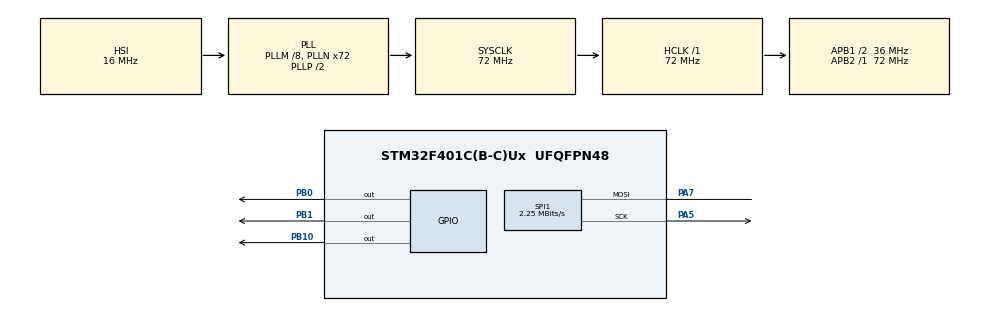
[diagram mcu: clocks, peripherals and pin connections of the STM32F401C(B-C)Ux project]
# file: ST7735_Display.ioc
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Mcu.Family=STM32F4
Mcu.Name=STM32F401C(B-C)Ux
Mcu.Package=UFQFPN48
NVIC.PriorityGroup=NVIC_PRIORITYGROUP_4
PA13.Mode=Serial_Wire
PA13.Signal=SYS_JTMS-SWDIO
PA14.Mode=Serial_Wire
PA14.Signal=SYS_JTCK-SWCLK
PA5.Mode=Simplex_Bidirectional_Master
PA5.Signal=SPI1_SCK
PA7.Mode=Simplex_Bidirectional_Master
PA7.Signal=SPI1_MOSI
PB0.Signal=GPIO_Output
PB1.Signal=GPIO_Output
PB10.Signal=GPIO_Output
PH0\ -\ OSC_IN.Mode=HSE-External-Oscillator
PH0\ -\ OSC_IN.Signal=RCC_OSC_IN
PH1\ -\ OSC_OUT.Mode=HSE-External-Oscillator
PH1\ -\ OSC_OUT.Signal=RCC_OSC_OUT
ProjectManager.HeapSize=0x200
ProjectManager.StackSize=0x400
ProjectManager.TargetToolchain=STM32CubeIDE
RCC.48MHZClocksFreq_Value=36000000
RCC.AHBFreq_Value=72000000
RCC.APB1CLKDivider=RCC_HCLK_DIV2
RCC.APB1Freq_Value=36000000
RCC.APB1TimFreq_Value=72000000
RCC.APB2Freq_Value=72000000
RCC.APB2TimFreq_Value=72000000
RCC.CortexFreq_Value=72000000
RCC.HCLKFreq_Value=72000000
RCC.HSE_VALUE=25000000
RCC.HSI_VALUE=16000000
RCC.LSE_VALUE=32768
RCC.PLLM=8
RCC.PLLN=72
RCC.SYSCLKFreq_VALUE=72000000
RCC.SYSCLKSource=RCC_SYSCLKSOURCE_PLLCLK
RCC.VCOOutputFreq_Value=144000000
SPI1.BaudRatePrescaler=SPI_BAUDRATEPRESCALER_32
SPI1.CalculateBaudRate=2.25 MBits/s
SPI1.Direction=SPI_DIRECTION_1LINE
SPI1.Mode=SPI_MODE_MASTER
SPI1.VirtualType=VM_MASTER
board=custom

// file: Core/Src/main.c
/* USER CODE BEGIN Header */
/**
  ******************************************************************************
  * @file           : main.c
  * @brief          : Main program body
  ******************************************************************************
  * @attention
  *
  * <h2><center>&copy; Copyright (c) 2020 STMicroelectronics.
  * All rights reserved.</center></h2>
  *
  * This software component is licensed by ST under BSD 3-Clause license,
  * the "License"; You may not use this file except in compliance with the
  * License. You may obtain a copy of the License at:
  *                        opensource.org/licenses/BSD-3-Clause
  *
  ******************************************************************************
  */
/* USER CODE END Header */
#include "main.h"

/* USER CODE BEGIN Includes */
#include <string.h>
#include "ST7735.h"
#include "GFX_FUNCTIONS.h"
#include "fonts.h"
/* USER CODE END Includes */

SPI_HandleTypeDef hspi1;

void SystemClock_Config(void);
static void MX_GPIO_Init(void);
static void MX_SPI1_Init(void);

int main(void)
{

  /* MCU Configuration--------------------------------------------------------*/

  /* Reset of all peripherals, Initializes the Flash interface and the Systick. */
  HAL_Init();

  /* Configure the system clock */
  SystemClock_Config();

  /* Initialize all configured peripherals */
  MX_GPIO_Init();
  MX_SPI1_Init();
  /* USER CODE BEGIN 2 */
  ST7735_Init();

  /* USER CODE END 2 */

  /* Infinite loop */
  /* USER CODE BEGIN WHILE */
  while (1)
  {
	  ST7735_FillScreen(ST7735_BLACK);
	    ST7735_WriteString(0, 0, "MicroPeta", Font_7x10, ST7735_RED, ST7735_BLACK);
	    ST7735_WriteString(0, 3*10, "by Nizar Mohideen", Font_11x18, ST7735_GREEN, ST7735_BLACK);
	    ST7735_WriteString(0, 3*10+3*18, "March 2023", Font_16x26, ST7735_BLUE, ST7735_BLACK);
	    HAL_Delay(3000);
	    ST7735_FillScreen(ST7735_BLACK);
	    drawCircle(50, 55, 20, ST7735_GREEN);
	    drawCircle(50, 55, 21, ST7735_GREEN);
	    drawCircle(50, 55, 22, ST7735_GREEN);
	    drawCircle(50, 55, 23, ST7735_GREEN);
	    drawCircle(50, 55, 24, ST7735_GREEN);
	    drawCircle(50, 55, 25, ST7735_RED);
	    drawCircle(50, 55, 26, ST7735_RED);
	    drawCircle(50, 55, 27, ST7735_RED);
	    drawCircle(50, 55, 28, ST7735_RED);
	    HAL_Delay(4000);
    /* USER CODE END WHILE */

  }
}

void SystemClock_Config(void)
{
  RCC_OscInitTypeDef RCC_OscInitStruct = {0};
  RCC_ClkInitTypeDef RCC_ClkInitStruct = {0};

  /** Configure the main internal regulator output voltage
  */
  __HAL_RCC_PWR_CLK_ENABLE();
  __HAL_PWR_VOLTAGESCALING_CONFIG(PWR_REGULATOR_VOLTAGE_SCALE2);

  /** Initializes the RCC Oscillators according to the specified parameters
  * in the RCC_OscInitTypeDef structure.
  */
  RCC_OscInitStruct.OscillatorType = RCC_OSCILLATORTYPE_HSI;
  RCC_OscInitStruct.HSIState = RCC_HSI_ON;
  RCC_OscInitStruct.HSICalibrationValue = RCC_HSICALIBRATION_DEFAULT;
  RCC_OscInitStruct.PLL.PLLState = RCC_PLL_ON;
  RCC_OscInitStruct.PLL.PLLSource = RCC_PLLSOURCE_HSI;
  RCC_OscInitStruct.PLL.PLLM = 8;
  RCC_OscInitStruct.PLL.PLLN = 72;
  RCC_OscInitStruct.PLL.PLLP = RCC_PLLP_DIV2;
  RCC_OscInitStruct.PLL.PLLQ = 4;
  if (HAL_RCC_OscConfig(&RCC_OscInitStruct) != HAL_OK)
  {
    Error_Handler();
  }

  /** Initializes the CPU, AHB and APB buses clocks
  */
  RCC_ClkInitStruct.ClockType = RCC_CLOCKTYPE_HCLK|RCC_CLOCKTYPE_SYSCLK
                              |RCC_CLOCKTYPE_PCLK1|RCC_CLOCKTYPE_PCLK2;
  RCC_ClkInitStruct.SYSCLKSource = RCC_SYSCLKSOURCE_PLLCLK;
  RCC_ClkInitStruct.AHBCLKDivider = RCC_SYSCLK_DIV1;
  RCC_ClkInitStruct.APB1CLKDivider = RCC_HCLK_DIV2;
  RCC_ClkInitStruct.APB2CLKDivider = RCC_HCLK_DIV1;

  if (HAL_RCC_ClockConfig(&RCC_ClkInitStruct, FLASH_LATENCY_2) != HAL_OK)
  {
    Error_Handler();
  }
}

static void MX_SPI1_Init(void)
{

  /* SPI1 parameter configuration*/
  hspi1.Instance = SPI1;
  hspi1.Init.Mode = SPI_MODE_MASTER;
  hspi1.Init.Direction = SPI_DIRECTION_1LINE;
  hspi1.Init.DataSize = SPI_DATASIZE_8BIT;
  hspi1.Init.CLKPolarity = SPI_POLARITY_LOW;
  hspi1.Init.CLKPhase = SPI_PHASE_1EDGE;
  hspi1.Init.NSS = SPI_NSS_SOFT;
  hspi1.Init.BaudRatePrescaler = SPI_BAUDRATEPRESCALER_32;
  hspi1.Init.FirstBit = SPI_FIRSTBIT_MSB;
  hspi1.Init.TIMode = SPI_TIMODE_DISABLE;
  hspi1.Init.CRCCalculation = SPI_CRCCALCULATION_DISABLE;
  hspi1.Init.CRCPolynomial = 10;
  if (HAL_SPI_Init(&hspi1) != HAL_OK)
  {
    Error_Handler();
  }

}

static void MX_GPIO_Init(void)
{
  GPIO_InitTypeDef GPIO_InitStruct = {0};

  /* GPIO Ports Clock Enable */
  __HAL_RCC_GPIOH_CLK_ENABLE();
  __HAL_RCC_GPIOA_CLK_ENABLE();
  __HAL_RCC_GPIOB_CLK_ENABLE();

  /*Configure GPIO pin Output Level */
  HAL_GPIO_WritePin(GPIOB, GPIO_PIN_0|GPIO_PIN_1|GPIO_PIN_10, GPIO_PIN_RESET);

  /*Configure GPIO pins : PB0 PB1 PB10 */
  GPIO_InitStruct.Pin = GPIO_PIN_0|GPIO_PIN_1|GPIO_PIN_10;
  GPIO_InitStruct.Mode = GPIO_MODE_OUTPUT_PP;
  GPIO_InitStruct.Pull = GPIO_NOPULL;
  GPIO_InitStruct.Speed = GPIO_SPEED_FREQ_LOW;
  HAL_GPIO_Init(GPIOB, &GPIO_InitStruct);

}

void Error_Handler(void)
{
}
